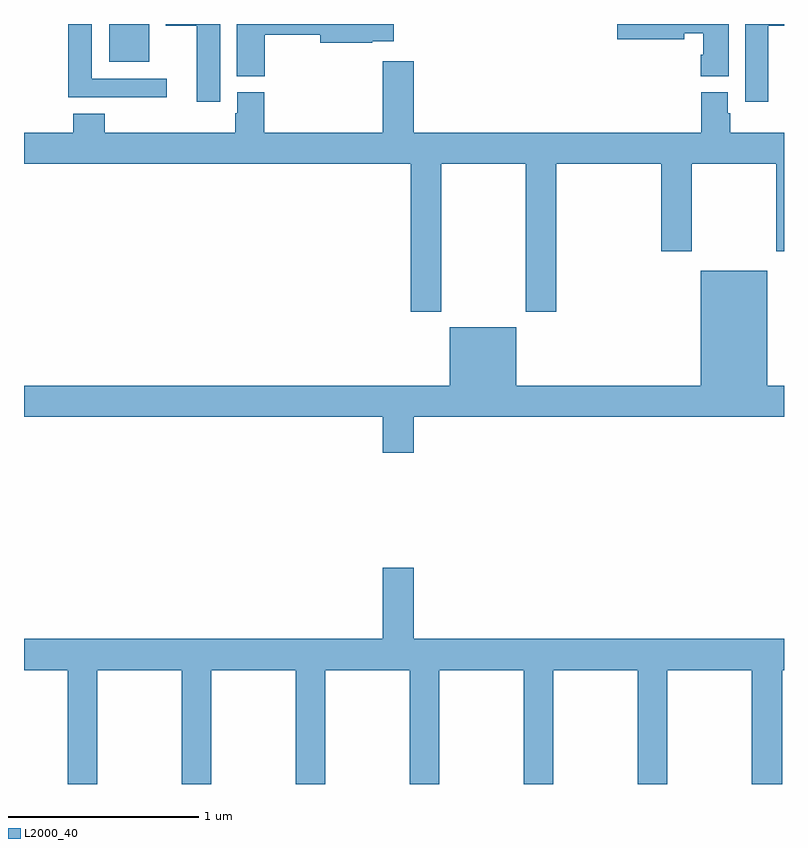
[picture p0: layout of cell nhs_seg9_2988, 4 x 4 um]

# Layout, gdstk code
import gdstk
lib = gdstk.Library(unit=1e-6, precision=1e-09)
def R(c, l, rs):  # rectangles x0, y0, x1, y1
    for r in rs: c.add(gdstk.rectangle(r[:2], r[2:], *l))
def P(c, l, *ps):  # polygons
    for p in ps: c.add(gdstk.Polygon(p, *l))
L2000_40 = (2000, 40)

nhs_seg9_2988 = lib.new_cell('nhs_seg9_2988')
R(nhs_seg9_2988, L2000_40, [(283.448,1186.301,283.66,1186.5)])
P(nhs_seg9_2988, L2000_40, [(283.75,1186.212),(283.357,1186.212),(283.357,1186.5),(283.232,1186.5),(283.232,1186.115),(283.75,1186.115)],
  [(286.918,1186.49),(287,1186.49),(287,1186.5),(286.796,1186.5),(286.796,1186.092),(286.918,1186.092)],
  [(284.032,1186.5),(283.745,1186.5),(283.745,1186.49),(283.91,1186.49),(283.91,1186.092),(284.032,1186.092)],
  [(284.267,1186.444),(284.558,1186.444),(284.558,1186.402),(284.834,1186.402),(284.834,1186.409),(284.947,1186.409),(284.947,1186.5),(284.12,1186.5),(284.12,1186.225),(284.267,1186.225)],
  [(286.708,1186.5),(286.122,1186.5),(286.122,1186.421),(286.474,1186.421),(286.474,1186.452),(286.574,1186.452),(286.574,1186.337),(286.562,1186.337),(286.562,1186.225),(286.708,1186.225)],
  [(285.195,1185.764),(285.64,1185.764),(285.64,1184.985),(285.8,1184.985),(285.8,1185.764),(286.355,1185.764),(286.355,1185.303),(286.515,1185.303),(286.515,1185.764),(286.96,1185.764),(286.96,1185.303),(287,1185.303),(287,1185.928),(286.718,1185.928),(286.718,1186.029),(286.705,1186.029),(286.705,1186.14),(286.565,1186.14),(286.565,1185.928),(285.052,1185.928),(285.052,1186.303),(284.888,1186.303),(284.888,1185.928),(284.264,1185.928),(284.264,1186.14),(284.123,1186.14),(284.123,1186.029),(284.111,1186.029),(284.111,1185.928),(283.424,1185.928),(283.424,1186.027),(283.259,1186.027),(283.259,1185.928),(283,1185.928),(283,1185.764),(285.035,1185.764),(285.035,1184.985),(285.195,1184.985)],
  [(285.052,1184.432),(287,1184.432),(287,1184.596),(286.912,1184.596),(286.912,1185.202),(286.562,1185.202),(286.562,1184.596),(285.592,1184.596),(285.592,1184.905),(285.242,1184.905),(285.242,1184.596),(283,1184.596),(283,1184.432),(284.888,1184.432),(284.888,1184.244),(285.052,1184.244)],
  [(283.386,1183.1),(283.831,1183.1),(283.831,1182.5),(283.986,1182.5),(283.986,1183.1),(284.431,1183.1),(284.431,1182.5),(284.586,1182.5),(284.586,1183.1),(285.031,1183.1),(285.031,1182.5),(285.186,1182.5),(285.186,1183.1),(285.631,1183.1),(285.631,1182.5),(285.786,1182.5),(285.786,1183.1),(286.231,1183.1),(286.231,1182.5),(286.386,1182.5),(286.386,1183.1),(286.831,1183.1),(286.831,1182.5),(286.991,1182.5),(286.991,1183.1),(287,1183.1),(287,1183.264),(285.052,1183.264),(285.052,1183.639),(284.888,1183.639),(284.888,1183.264),(283,1183.264),(283,1183.1),(283.231,1183.1),(283.231,1182.5),(283.386,1182.5)])

lib.write_gds('nhs_seg9_2988.gds')
